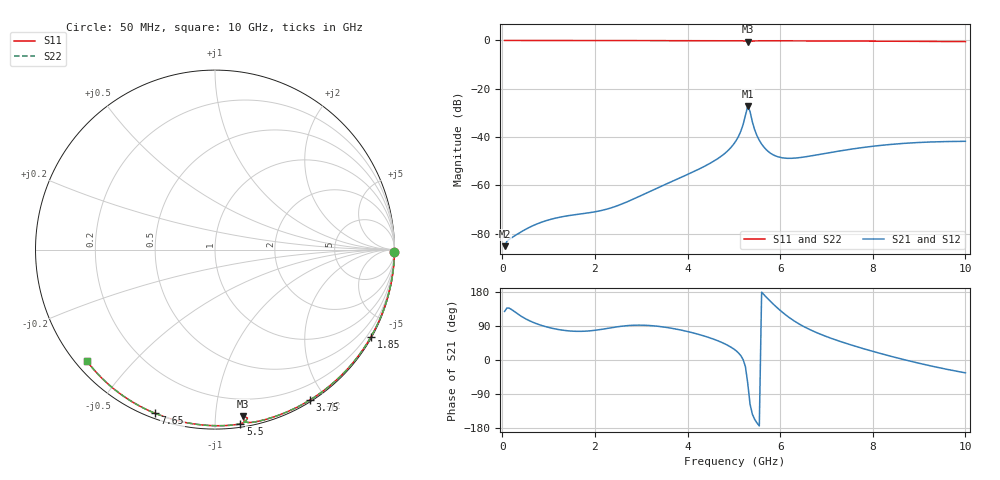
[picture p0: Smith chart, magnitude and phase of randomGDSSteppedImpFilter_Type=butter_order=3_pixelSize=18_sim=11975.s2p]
! freq	dB(S11)	phase(S11)	dB(S12)	phase(S12)
!  dB(S21)	phase(S21)	dB(S22)	phase(S22)
!S-par simulation data
#  GHz  S  DB  R 50
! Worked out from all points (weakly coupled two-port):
!   200 points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, 50 MHz to 10 GHz, reference 50 ohm
!   highest |S21| = -27.22 dB at 5.3 GHz (marker M1); lowest = -85.1 dB at 50 MHz (marker M2)
!   lowest |S11| = -0.5 dB at 5.3 GHz (marker M3), VSWR 33.27, Z = 3.6 - j59 ohm
!   |S11| at or under -10 dB: nowhere
!   |S22| runs from -0.5 to 0.0 dB; largest |S21 - S12| = 0
!   S11 on the Smith chart (normalised r, x): 50 MHz: open; 1.85 GHz: 0.03, -3.83; 3.75 GHz: 0.02, -1.81; 5.5 GHz: 0.02, -1.16; 7.65 GHz: 0.02, -0.70; 10 GHz: 0.03, -0.37
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0.05  -0.00 -0.8  -85.13 128.3  -85.13 128.3  -0.00 -0.8
0.35  -0.00 -5.6  -79.87 120.1  -79.87 120.1  -0.00 -5.6
0.95  -0.02 -15.2  -74.56 87.6  -74.56 87.6  -0.02 -15.2
1.75  -0.04 -27.7  -71.65 75.8  -71.65 75.8  -0.04 -27.7
1.85  -0.04 -29.3  -71.38 76.5  -71.38 76.5  -0.04 -29.3
2.5  -0.05 -39.3  -68.30 87.9  -68.30 87.9  -0.05 -39.3
3.4  -0.07 -52.8  -60.63 88.4  -60.63 88.4  -0.07 -52.8
3.75  -0.08 -57.9  -57.61 81.7  -57.61 81.7  -0.08 -57.9
4.65  -0.10 -70.9  -48.95 51.0  -48.95 51.0  -0.10 -70.9
4.9  -0.11 -74.5  -45.07 36.6  -45.07 36.6  -0.11 -74.5
5.05  -0.13 -76.7  -41.42 24.3  -41.42 24.3  -0.13 -76.7
5.2  -0.17 -79.3  -34.82 1.2  -34.82 1.2  -0.17 -79.3
5.3  -0.52 -80.5  -27.22 -61.1  -27.22 -61.1  -0.52 -80.5
5.35  -0.40 -79.1  -29.40 -116.7  -29.40 -116.7  -0.40 -79.1
5.4  -0.24 -79.9  -33.71 -143.1  -33.71 -143.1  -0.24 -79.9
5.5  -0.17 -81.7  -39.43 -166.2  -39.43 -166.2  -0.17 -81.7
5.7  -0.15 -84.7  -45.20 165.9  -45.20 165.9  -0.15 -84.7
5.95  -0.16 -88.2  -48.14 136.3  -48.14 136.3  -0.16 -88.2
6.7  -0.19 -98.1  -47.67 76.9  -47.67 76.9  -0.19 -98.1
7.65  -0.25 -110.2  -44.66 35.3  -44.66 35.3  -0.25 -110.2
8.35  -0.31 -118.9  -43.09 11.1  -43.09 11.1  -0.31 -118.9
10  -0.48 -139.2  -41.74 -33.9  -41.74 -33.9  -0.48 -139.2
